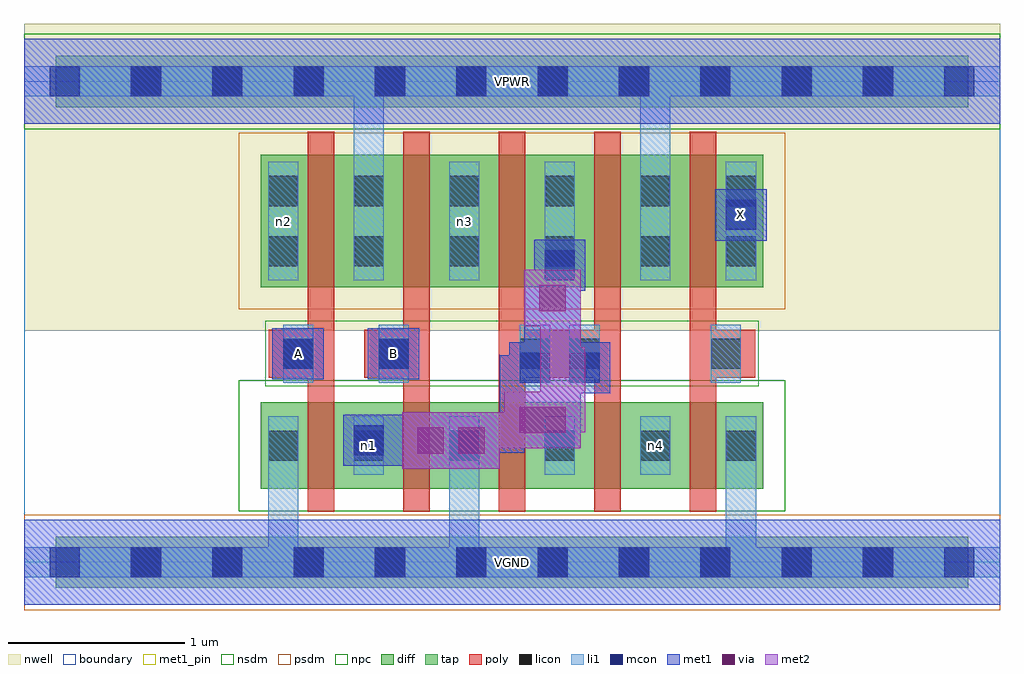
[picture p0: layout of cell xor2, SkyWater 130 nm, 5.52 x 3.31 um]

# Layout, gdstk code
import gdstk
lib = gdstk.Library(unit=1e-6, precision=1e-09)
def R(c, l, rs):  # rectangles x0, y0, x1, y1
    for r in rs: c.add(gdstk.rectangle(r[:2], r[2:], *l))
def A(c, l, x, y, w, h, nx, ny, dx, dy):  # array of equal rectangles
    R(c, l, [(x+i*dx, y+j*dy, x+i*dx+w, y+j*dy+h) for i in range(nx) for j in range(ny)])
nwell = (64, 20)
diff = (65, 20)
tap = (65, 44)
poly = (66, 20)
licon = (66, 44)
li1 = (67, 20)
mcon = (67, 44)
met1_pin = (68, 16)
met1 = (68, 20)
via = (68, 44)
met2 = (69, 20)
nsdm = (93, 44)
psdm = (94, 20)
npc = (95, 20)
boundary = (235, 4)

xor2 = lib.new_cell('xor2')
R(xor2, nwell, [(0,1.31,5.52,3.045)])
R(xor2, diff, [(1.34,0.415,4.18,0.905), (1.34,1.555,4.18,2.305)])
R(xor2, tap, [(0.18,-0.145,5.34,0.145), (0.18,2.575,5.34,2.865)])
A(xor2, poly, 1.605, 0.285, 0.15, 2.15, 5, 1, 0.54, 0)
R(xor2, poly, [(1.385,1.045,1.715,1.315), (1.925,1.045,2.255,1.315), (2.725,1.045,3.055,1.315), (3.005,1.045,3.335,1.315), (3.805,1.045,4.135,1.315)])
A(xor2, licon, 0.605, -0.085, 0.17, 0.17, 10, 2, 0.46, 2.72)
A(xor2, licon, 1.865, 0.575, 0.17, 0.17, 4, 2, 0.54, 1.1)
A(xor2, licon, 1.865, 2.015, 0.17, 0.17, 4, 1, 0.54, 0)
R(xor2, licon, [(1.38,0.575,1.55,0.745), (3.97,0.575,4.14,0.745), (1.465,1.095,1.635,1.265), (2.005,1.095,2.175,1.265), (2.805,1.095,2.975,1.265), (3.085,1.095,3.255,1.265), (3.885,1.095,4.055,1.265), (1.38,1.675,1.55,1.845), (3.97,1.675,4.14,1.845), (1.38,2.015,1.55,2.185), (3.97,2.015,4.14,2.185)])
A(xor2, li1, 1.865, 0.495, 0.17, 0.33, 4, 1, 0.54, 0)
A(xor2, li1, 1.865, 1.595, 0.17, 0.67, 4, 1, 0.54, 0)
R(xor2, li1, [(0,-0.085,5.52,0.085), (1.38,-0.085,1.55,0.825), (2.405,-0.085,2.575,0.825), (3.97,-0.085,4.14,0.825), (1.38,0.495,1.55,0.825), (3.97,0.495,4.14,0.825), (1.465,1.015,1.635,1.345), (2.005,1.015,2.175,1.345), (2.805,1.015,2.975,1.345), (3.085,1.015,3.255,1.345), (3.885,1.015,4.055,1.345), (1.38,1.595,1.55,2.265), (1.865,1.595,2.035,2.805), (3.485,1.595,3.655,2.805), (3.97,1.595,4.14,2.265), (0,2.635,5.52,2.805)])
A(xor2, mcon, 0.145, -0.085, 0.17, 0.17, 12, 2, 0.46, 2.72)
R(xor2, mcon, [(1.865,0.605,2.035,0.775), (2.805,1.015,2.975,1.185), (3.085,1.015,3.255,1.185), (1.465,1.095,1.635,1.265), (2.005,1.095,2.175,1.265), (2.945,1.595,3.115,1.765), (3.97,1.88,4.14,2.05)])
R(xor2, met1_pin, [(0,-0.24,5.52,0.24), (1.405,1.035,1.695,1.325), (1.945,1.035,2.235,1.325), (3.91,1.82,4.2,2.11), (0,2.48,5.52,2.96)])
R(xor2, met1, [(0,-0.24,5.52,0.24), (2.14,0.53,2.46,0.85), (2.37,0.53,2.69,0.85), (1.805,0.545,2.095,0.835), (2.095,0.545,2.14,0.835), (1.88,0.62,2.14,0.76), (2,0.62,2.37,0.76), (2.46,0.62,2.83,0.76), (2.69,0.62,2.83,0.99), (2.715,0.645,3.035,0.965), (2.83,0.645,3.15,0.965), (2.69,0.735,2.945,0.875), (2.83,0.735,2.92,0.99), (2.92,0.735,3.06,0.99), (2.69,0.85,2.83,1.17), (2.83,0.85,2.92,1.17), (2.83,0.85,2.92,0.99), (2.92,0.85,3.06,1.17), (2.745,0.955,3.035,1.245), (3.025,0.955,3.315,1.245), (2.715,0.965,2.96,1.03), (2.92,0.965,3.15,1.03), (2.69,1.03,2.96,1.17), (2.92,1.03,3.24,1.17), (1.405,1.035,1.695,1.325), (1.945,1.035,2.235,1.325), (2.83,1.245,3.035,1.335), (3.025,1.245,3.15,1.335), (2.83,1.335,3.15,1.655), (2.92,1.425,3.06,1.75), (2.885,1.535,3.175,1.825), (2.92,1.61,3.1,1.75), (3.91,1.82,4.2,2.11), (0,2.48,5.52,2.96)])
R(xor2, via, [(2.225,0.615,2.375,0.765), (2.455,0.615,2.605,0.765), (2.8,0.73,2.95,0.88), (2.915,0.73,3.065,0.88), (2.915,1.42,3.065,1.57)])
R(xor2, met2, [(2.14,0.53,2.46,0.85), (2.37,0.53,2.69,0.85), (2.23,0.62,2.6,0.76), (2.6,0.645,2.715,0.76), (2.69,0.645,2.715,0.85), (2.715,0.645,3.035,0.965), (2.83,0.645,3.15,0.965), (2.69,0.735,2.805,0.85), (2.805,0.735,3.06,0.875), (2.92,0.735,3.175,0.875), (3.035,0.735,3.175,1.22), (2.92,0.965,3.035,1.08), (2.92,0.965,3.15,1.08), (2.92,0.965,3.06,1.08), (2.92,1.08,3.175,1.22), (2.92,1.08,3.06,1.565), (2.92,1.22,3.15,1.335), (3.035,1.22,3.15,1.335), (2.83,1.335,3.15,1.655)])
R(xor2, nsdm, [(1.215,0.29,4.305,1.03), (0,2.45,5.52,2.99)])
R(xor2, psdm, [(0,-0.27,5.52,0.27), (1.215,1.43,4.305,2.43)])
R(xor2, npc, [(1.365,0.995,4.155,1.365)])
R(xor2, boundary, [(0,0,5.52,2.72)])
xor2.add(gdstk.Label('n1', (1.95,0.66), layer=67, texttype=5))
xor2.add(gdstk.Label('n4', (3.57,0.66), layer=67, texttype=5))
xor2.add(gdstk.Label('n2', (1.465,1.93), layer=67, texttype=5))
xor2.add(gdstk.Label('n3', (2.49,1.93), layer=67, texttype=5))
xor2.add(gdstk.Label('A', (1.55,1.18), layer=68, texttype=5))
xor2.add(gdstk.Label('B', (2.09,1.18), layer=68, texttype=5))
xor2.add(gdstk.Label('X', (4.055,1.965), layer=68, texttype=5))
xor2.add(gdstk.Label('VPWR', (2.76,2.72), layer=68, texttype=5))
xor2.add(gdstk.Label('VGND', (2.76,0), layer=68, texttype=5))
xor2.add(gdstk.Label('A', (1.55,1.18), layer=68, texttype=16))
xor2.add(gdstk.Label('B', (2.09,1.18), layer=68, texttype=16))
xor2.add(gdstk.Label('X', (4.055,1.965), layer=68, texttype=16))
xor2.add(gdstk.Label('VPWR', (2.76,2.72), layer=68, texttype=16))
xor2.add(gdstk.Label('VGND', (2.76,0), layer=68, texttype=16))

lib.write_gds('xor2.gds')
